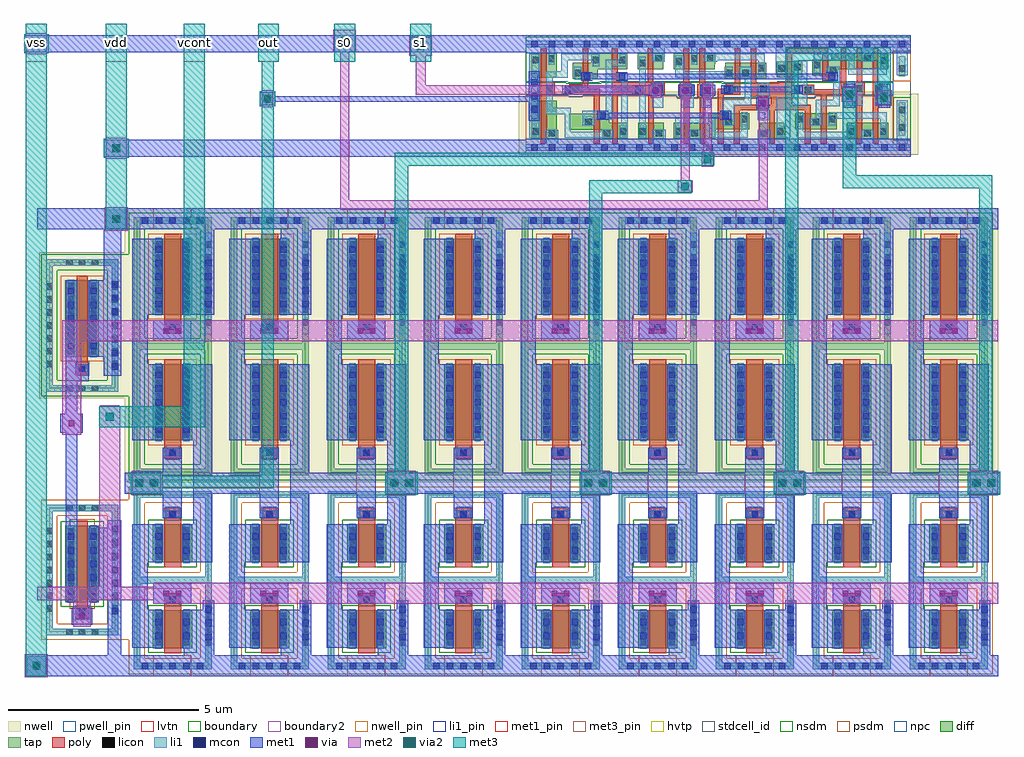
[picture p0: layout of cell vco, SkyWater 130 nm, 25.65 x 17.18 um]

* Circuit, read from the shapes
.subckt vco out s0 s1 vcont vdd vss
XM1 vss vcont delay_stage_10/vcont_p vss sky130_fd_pr__nfet_01v8_lvt w=2 l=0.3
XM2 vss vcont n1 vss sky130_fd_pr__nfet_01v8 w=1 l=0.45
XM3 delay_stage_2/in out n1 vss sky130_fd_pr__nfet_01v8 w=1 l=0.45
XM4 vss vcont n2 vss sky130_fd_pr__nfet_01v8 w=1 l=0.45
XM5 delay_stage_12/in delay_stage_2/in n2 vss sky130_fd_pr__nfet_01v8 w=1 l=0.45
XM6 vss vcont n3 vss sky130_fd_pr__nfet_01v8 w=1 l=0.45
XM7 sky130_fd_sc_hd__mux4_1_5/A3 delay_stage_12/in n3 vss sky130_fd_pr__nfet_01v8 w=1 l=0.45
XM8 vss vcont n4 vss sky130_fd_pr__nfet_01v8 w=1 l=0.45
XM9 delay_stage_8/in sky130_fd_sc_hd__mux4_1_5/A3 n4 vss sky130_fd_pr__nfet_01v8 w=1 l=0.45
XM10 vss n5 out vss sky130_fd_pr__nfet_01v8 w=0.65 l=0.15
XM11 vss vcont n6 vss sky130_fd_pr__nfet_01v8 w=1 l=0.45
XM12 sky130_fd_sc_hd__mux4_1_5/A2 delay_stage_8/in n6 vss sky130_fd_pr__nfet_01v8 w=1 l=0.45
XM13 n5 n7 n8 vss sky130_fd_pr__nfet_01v8 w=0.42 l=0.15
XM14 n9 s1 n5 vss sky130_fd_pr__nfet_01v8 w=0.42 l=0.15
XM15 vss s1 n7 vss sky130_fd_pr__nfet_01v8 w=0.42 l=0.15
XM16 vss vcont n10 vss sky130_fd_pr__nfet_01v8 w=1 l=0.45
XM17 delay_stage_6/in sky130_fd_sc_hd__mux4_1_5/A2 n10 vss sky130_fd_pr__nfet_01v8 w=1 l=0.45
XM18 vss sky130_fd_sc_hd__mux4_1_5/A2 n11 vss sky130_fd_pr__nfet_01v8 w=0.42 l=0.15
XM19 n12 sky130_fd_sc_hd__mux4_1_5/A3 vss vss sky130_fd_pr__nfet_01v8 w=0.42 l=0.15
XM20 n9 n13 n11 vss sky130_fd_pr__nfet_01v8 w=0.42 l=0.15
XM21 vss vcont n14 vss sky130_fd_pr__nfet_01v8 w=1 l=0.45
XM22 sky130_fd_sc_hd__mux4_1_5/A1 delay_stage_6/in n14 vss sky130_fd_pr__nfet_01v8 w=1 l=0.45
XM23 n12 s0 n9 vss sky130_fd_pr__nfet_01v8 w=0.42 l=0.15
XM24 n13 s0 vss vss sky130_fd_pr__nfet_01v8 w=0.42 l=0.15
XM25 n8 s0 n15 vss sky130_fd_pr__nfet_01v8 w=0.42 l=0.15
XM26 n16 n13 n8 vss sky130_fd_pr__nfet_01v8 w=0.42 l=0.15
XM27 vss vcont n17 vss sky130_fd_pr__nfet_01v8 w=1 l=0.45
XM28 delay_stage_11/in sky130_fd_sc_hd__mux4_1_5/A1 n17 vss sky130_fd_pr__nfet_01v8 w=1 l=0.45
XM29 vss sky130_fd_sc_hd__mux4_1_5/A0 n16 vss sky130_fd_pr__nfet_01v8 w=0.42 l=0.15
XM30 n15 sky130_fd_sc_hd__mux4_1_5/A1 vss vss sky130_fd_pr__nfet_01v8 w=0.42 l=0.15
XM31 vss vcont n18 vss sky130_fd_pr__nfet_01v8 w=1 l=0.45
XM32 sky130_fd_sc_hd__mux4_1_5/A0 delay_stage_11/in n18 vss sky130_fd_pr__nfet_01v8 w=1 l=0.45
XM33 vdd delay_stage_10/vcont_p delay_stage_10/vcont_p vdd sky130_fd_pr__pfet_01v8 w=2 l=0.3
XM34 delay_stage_2/in out n19 vdd sky130_fd_pr__pfet_01v8 w=2 l=0.45
XM35 vdd delay_stage_10/vcont_p n19 vdd sky130_fd_pr__pfet_01v8 w=2 l=0.45
XM36 delay_stage_12/in delay_stage_2/in n20 vdd sky130_fd_pr__pfet_01v8 w=2 l=0.45
XM37 vdd delay_stage_10/vcont_p n20 vdd sky130_fd_pr__pfet_01v8 w=2 l=0.45
XM38 sky130_fd_sc_hd__mux4_1_5/A3 delay_stage_12/in n21 vdd sky130_fd_pr__pfet_01v8 w=2 l=0.45
XM39 vdd delay_stage_10/vcont_p n21 vdd sky130_fd_pr__pfet_01v8 w=2 l=0.45
XM40 delay_stage_8/in sky130_fd_sc_hd__mux4_1_5/A3 n22 vdd sky130_fd_pr__pfet_01v8 w=2 l=0.45
XM41 vdd delay_stage_10/vcont_p n22 vdd sky130_fd_pr__pfet_01v8 w=2 l=0.45
XM42 vdd n5 out vdd sky130_fd_pr__pfet_01v8_hvt w=1 l=0.15
XM43 sky130_fd_sc_hd__mux4_1_5/A2 delay_stage_8/in n23 vdd sky130_fd_pr__pfet_01v8 w=2 l=0.45
XM44 vdd delay_stage_10/vcont_p n23 vdd sky130_fd_pr__pfet_01v8 w=2 l=0.45
XM45 n5 n7 n9 vdd sky130_fd_pr__pfet_01v8_hvt w=0.42 l=0.15
XM46 n8 s1 n5 vdd sky130_fd_pr__pfet_01v8_hvt w=0.42 l=0.15
XM47 vdd s1 n7 vdd sky130_fd_pr__pfet_01v8_hvt w=0.42 l=0.15
XM48 delay_stage_6/in sky130_fd_sc_hd__mux4_1_5/A2 n24 vdd sky130_fd_pr__pfet_01v8 w=2 l=0.45
XM49 vdd delay_stage_10/vcont_p n24 vdd sky130_fd_pr__pfet_01v8 w=2 l=0.45
XM50 vdd sky130_fd_sc_hd__mux4_1_5/A2 n25 vdd sky130_fd_pr__pfet_01v8_hvt w=0.42 l=0.15
XM51 n26 sky130_fd_sc_hd__mux4_1_5/A3 vdd vdd sky130_fd_pr__pfet_01v8_hvt w=0.42 l=0.15
XM52 n9 n13 n26 vdd sky130_fd_pr__pfet_01v8_hvt w=0.42 l=0.15
XM53 n25 s0 n9 vdd sky130_fd_pr__pfet_01v8_hvt w=0.42 l=0.15
XM54 sky130_fd_sc_hd__mux4_1_5/A1 delay_stage_6/in n27 vdd sky130_fd_pr__pfet_01v8 w=2 l=0.45
XM55 vdd delay_stage_10/vcont_p n27 vdd sky130_fd_pr__pfet_01v8 w=2 l=0.45
XM56 n13 s0 vdd vdd sky130_fd_pr__pfet_01v8_hvt w=0.42 l=0.15
XM57 n8 s0 n28 vdd sky130_fd_pr__pfet_01v8_hvt w=0.42 l=0.15
XM58 n29 n13 n8 vdd sky130_fd_pr__pfet_01v8_hvt w=0.42 l=0.15
XM59 delay_stage_11/in sky130_fd_sc_hd__mux4_1_5/A1 n30 vdd sky130_fd_pr__pfet_01v8 w=2 l=0.45
XM60 vdd delay_stage_10/vcont_p n30 vdd sky130_fd_pr__pfet_01v8 w=2 l=0.45
XM61 vdd sky130_fd_sc_hd__mux4_1_5/A0 n28 vdd sky130_fd_pr__pfet_01v8_hvt w=0.42 l=0.15
XM62 n29 sky130_fd_sc_hd__mux4_1_5/A1 vdd vdd sky130_fd_pr__pfet_01v8_hvt w=0.42 l=0.15
XM63 sky130_fd_sc_hd__mux4_1_5/A0 delay_stage_11/in n31 vdd sky130_fd_pr__pfet_01v8 w=2 l=0.45
XM64 vdd delay_stage_10/vcont_p n31 vdd sky130_fd_pr__pfet_01v8 w=2 l=0.45
.ends

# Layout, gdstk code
from math import pi, radians
import gdstk
lib = gdstk.Library(unit=1e-6, precision=1e-09)
def R(c, l, rs):  # rectangles x0, y0, x1, y1
    for r in rs: c.add(gdstk.rectangle(r[:2], r[2:], *l))
def A(c, l, x, y, w, h, nx, ny, dx, dy):  # array of equal rectangles
    R(c, l, [(x+i*dx, y+j*dy, x+i*dx+w, y+j*dy+h) for i in range(nx) for j in range(ny)])
def P(c, l, *ps):  # polygons
    for p in ps: c.add(gdstk.Polygon(p, *l))
nwell_pin = (64, 16)
nwell = (64, 20)
diff = (65, 20)
tap = (65, 44)
poly = (66, 20)
licon = (66, 44)
li1_pin = (67, 16)
li1 = (67, 20)
mcon = (67, 44)
met1_pin = (68, 16)
met1 = (68, 20)
via = (68, 44)
met2 = (69, 20)
via2 = (69, 44)
met3_pin = (70, 16)
met3 = (70, 20)
hvtp = (78, 44)
stdcell_id = (81, 4)
nsdm = (93, 44)
psdm = (94, 20)
npc = (95, 20)
pwell_pin = (122, 16)
lvtn = (125, 44)
boundary = (235, 4)
boundary2 = (236, 0)

sky130_fd_pr__nfet_01v8_ = lib.new_cell('sky130_fd_pr__nfet_01v8_lvt_TKZJHP')
R(sky130_fd_pr__nfet_01v8_, diff, [(-0.44,-0.845,0.44,1.155)])
R(sky130_fd_pr__nfet_01v8_, tap, [(-0.95,-1.715,0.95,-1.545), (-0.95,-1.545,-0.78,1.545), (0.78,-1.545,0.95,1.545), (-0.95,1.545,0.95,1.715)])
R(sky130_fd_pr__nfet_01v8_, poly, [(-0.165,-1.285,0.165,-0.955), (-0.15,-0.955,0.15,1.285)])
A(sky130_fd_pr__nfet_01v8_, licon, -0.425, -1.715, 0.17, 0.17, 3, 2, 0.34, 3.26)
A(sky130_fd_pr__nfet_01v8_, licon, -0.95, -1.105, 0.17, 0.17, 1, 7, 0, 0.34)
A(sky130_fd_pr__nfet_01v8_, licon, 0.78, -1.105, 0.17, 0.17, 1, 7, 0, 0.34)
A(sky130_fd_pr__nfet_01v8_, licon, -0.38, -0.78, 0.17, 0.17, 1, 6, 0, 0.34)
A(sky130_fd_pr__nfet_01v8_, licon, 0.21, -0.78, 0.17, 0.17, 1, 6, 0, 0.34)
R(sky130_fd_pr__nfet_01v8_, licon, [(-0.085,-1.205,0.085,-1.035)])
R(sky130_fd_pr__nfet_01v8_, li1, [(-0.95,-1.715,0.95,-1.545), (-0.95,-1.545,-0.78,1.545), (0.78,-1.545,0.95,1.545), (-0.165,-1.205,0.165,-1.035), (-0.38,-0.865,-0.21,1.175), (0.21,-0.865,0.38,1.175), (-0.95,1.545,0.95,1.715)])
A(sky130_fd_pr__nfet_01v8_, mcon, -0.38, -0.65, 0.17, 0.17, 1, 5, 0, 0.36)
A(sky130_fd_pr__nfet_01v8_, mcon, 0.21, -0.65, 0.17, 0.17, 1, 5, 0, 0.36)
R(sky130_fd_pr__nfet_01v8_, mcon, [(-0.085,-1.205,0.085,-1.035)])
R(sky130_fd_pr__nfet_01v8_, met1, [(-0.145,-1.235,0.145,-1.005), (-0.41,-0.845,-0.18,1.155), (0.18,-0.845,0.41,1.155)])
R(sky130_fd_pr__nfet_01v8_, nsdm, [(-0.565,-0.97,0.565,1.28)])
R(sky130_fd_pr__nfet_01v8_, psdm, [(-1.075,-1.84,1.075,-1.42), (-1.075,-1.42,-0.655,1.42), (0.655,-1.42,1.075,1.42), (-1.075,1.42,1.075,1.84)])
R(sky130_fd_pr__nfet_01v8_, npc, [(-0.185,-1.305,0.185,-0.935)])
R(sky130_fd_pr__nfet_01v8_, lvtn, [(-0.33,-1.025,0.33,1.335)])
R(sky130_fd_pr__nfet_01v8_, boundary, [(-0.865,-1.63,0.865,1.63)])

sky130_fd_pr__pfet_01v8_ = lib.new_cell('sky130_fd_pr__pfet_01v8_PLD8WZ')
R(sky130_fd_pr__pfet_01v8_, nwell, [(-1.13,-1.92,1.13,1.92)])
R(sky130_fd_pr__pfet_01v8_, diff, [(-0.44,-0.82,0.44,1.18)])
R(sky130_fd_pr__pfet_01v8_, tap, [(-0.95,-1.74,0.95,-1.57), (-0.95,-1.57,-0.78,1.57), (0.78,-1.57,0.95,1.57), (-0.95,1.57,0.95,1.74)])
R(sky130_fd_pr__pfet_01v8_, poly, [(-0.165,-1.305,0.165,-0.975), (-0.15,-0.975,0.15,1.31)])
A(sky130_fd_pr__pfet_01v8_, licon, -0.425, -1.74, 0.17, 0.17, 3, 2, 0.34, 3.31)
A(sky130_fd_pr__pfet_01v8_, licon, -0.95, -1.105, 0.17, 0.17, 1, 7, 0, 0.34)
A(sky130_fd_pr__pfet_01v8_, licon, 0.78, -1.105, 0.17, 0.17, 1, 7, 0, 0.34)
A(sky130_fd_pr__pfet_01v8_, licon, -0.38, -0.755, 0.17, 0.17, 1, 6, 0, 0.34)
A(sky130_fd_pr__pfet_01v8_, licon, 0.21, -0.755, 0.17, 0.17, 1, 6, 0, 0.34)
R(sky130_fd_pr__pfet_01v8_, licon, [(-0.085,-1.225,0.085,-1.055)])
R(sky130_fd_pr__pfet_01v8_, li1, [(-0.95,-1.74,0.95,-1.57), (-0.95,-1.57,-0.78,1.57), (0.78,-1.57,0.95,1.57), (-0.165,-1.225,0.165,-1.055), (-0.38,-0.84,-0.21,1.2), (0.21,-0.84,0.38,1.2), (-0.95,1.57,0.95,1.74)])
A(sky130_fd_pr__pfet_01v8_, mcon, -0.38, -0.625, 0.17, 0.17, 1, 5, 0, 0.36)
A(sky130_fd_pr__pfet_01v8_, mcon, 0.21, -0.625, 0.17, 0.17, 1, 5, 0, 0.36)
R(sky130_fd_pr__pfet_01v8_, mcon, [(-0.085,-1.225,0.085,-1.055)])
R(sky130_fd_pr__pfet_01v8_, met1, [(-0.145,-1.255,0.145,-1.025), (-0.41,-0.82,-0.18,1.18), (0.18,-0.82,0.41,1.18)])
R(sky130_fd_pr__pfet_01v8_, nsdm, [(-1.075,-1.865,1.075,-1.445), (-1.075,-1.445,-0.655,1.445), (0.655,-1.445,1.075,1.445), (-1.075,1.445,1.075,1.865)])
R(sky130_fd_pr__pfet_01v8_, psdm, [(-0.565,-0.945,0.565,1.305)])
R(sky130_fd_pr__pfet_01v8_, npc, [(-0.185,-1.325,0.185,-0.955)])
R(sky130_fd_pr__pfet_01v8_, boundary, [(-0.865,-1.655,0.865,1.655)])

c_sky130_fd_pr__pfet_01v8_ = lib.new_cell('sky130_fd_pr__pfet_01v8_38U2ME')
R(c_sky130_fd_pr__pfet_01v8_, nwell, [(-1.205,-1.92,1.205,1.92)])
R(c_sky130_fd_pr__pfet_01v8_, diff, [(-0.515,-0.82,0.515,1.18)])
R(c_sky130_fd_pr__pfet_01v8_, tap, [(-1.025,-1.74,1.025,-1.57), (-1.025,-1.57,-0.855,1.57), (0.855,-1.57,1.025,1.57), (-1.025,1.57,1.025,1.74)])
R(c_sky130_fd_pr__pfet_01v8_, poly, [(-0.225,-1.305,0.225,1.31)])
A(c_sky130_fd_pr__pfet_01v8_, licon, 0.855, -1.105, 0.17, 0.17, 1, 7, 0, 0.34)
A(c_sky130_fd_pr__pfet_01v8_, licon, -0.455, -0.755, 0.17, 0.17, 1, 6, 0, 0.34)
A(c_sky130_fd_pr__pfet_01v8_, licon, 0.285, -0.755, 0.17, 0.17, 1, 6, 0, 0.34)
R(c_sky130_fd_pr__pfet_01v8_, licon, [(-0.085,-1.225,0.085,-1.055)])
R(c_sky130_fd_pr__pfet_01v8_, li1, [(0.855,-1.335,1.025,1.335), (-0.225,-1.225,0.225,-1.055), (-0.455,-0.84,-0.285,1.2), (0.285,-0.84,0.455,1.2), (-0.855,1.57,0.855,1.74)])
A(c_sky130_fd_pr__pfet_01v8_, mcon, -0.455, -0.625, 0.17, 0.17, 1, 5, 0, 0.36)
A(c_sky130_fd_pr__pfet_01v8_, mcon, 0.285, -0.625, 0.17, 0.17, 1, 5, 0, 0.36)
A(c_sky130_fd_pr__pfet_01v8_, mcon, 0.855, -0.625, 0.17, 0.17, 1, 4, 0, 0.36)
A(c_sky130_fd_pr__pfet_01v8_, mcon, -0.805, 1.57, 0.17, 0.17, 5, 1, 0.36, 0)
R(c_sky130_fd_pr__pfet_01v8_, mcon, [(-0.085,-1.225,0.085,-1.055)])
R(c_sky130_fd_pr__pfet_01v8_, met1, [(-0.205,-1.255,0.205,-1.025), (-0.485,-0.82,-0.255,1.18), (0.255,-0.82,0.485,1.18), (0.825,-0.685,1.055,0.685), (-0.915,1.54,0.915,1.77)])
R(c_sky130_fd_pr__pfet_01v8_, nsdm, [(-1.15,-1.865,1.15,-1.445), (-1.15,-1.445,-0.73,1.445), (0.73,-1.445,1.15,1.445), (-1.15,1.445,1.15,1.865)])
R(c_sky130_fd_pr__pfet_01v8_, psdm, [(-0.64,-0.945,0.64,1.305)])
R(c_sky130_fd_pr__pfet_01v8_, npc, [(-0.185,-1.325,0.185,-0.955)])
R(c_sky130_fd_pr__pfet_01v8_, boundary, [(-0.94,-1.655,0.94,1.655)])

c_sky130_fd_pr__pfet_01v8__ = lib.new_cell('sky130_fd_pr__pfet_01v8_5YCKZA')
R(c_sky130_fd_pr__pfet_01v8__, nwell, [(-1.205,-1.92,1.205,1.92)])
R(c_sky130_fd_pr__pfet_01v8__, diff, [(-0.515,-0.82,0.515,1.18)])
R(c_sky130_fd_pr__pfet_01v8__, tap, [(-1.025,-1.74,1.025,-1.57), (-1.025,-1.57,-0.855,1.57), (0.855,-1.57,1.025,1.57), (-1.025,1.57,1.025,1.74)])
R(c_sky130_fd_pr__pfet_01v8__, poly, [(-0.225,-1.305,0.225,1.31)])
A(c_sky130_fd_pr__pfet_01v8__, licon, -0.455, -0.755, 0.17, 0.17, 1, 6, 0, 0.34)
A(c_sky130_fd_pr__pfet_01v8__, licon, 0.285, -0.755, 0.17, 0.17, 1, 6, 0, 0.34)
R(c_sky130_fd_pr__pfet_01v8__, licon, [(-0.085,-1.225,0.085,-1.055)])
R(c_sky130_fd_pr__pfet_01v8__, li1, [(-0.225,-1.225,0.225,-1.055), (-0.455,-0.84,-0.285,1.2), (0.285,-0.84,0.455,1.2)])
A(c_sky130_fd_pr__pfet_01v8__, mcon, -0.455, -0.625, 0.17, 0.17, 1, 5, 0, 0.36)
A(c_sky130_fd_pr__pfet_01v8__, mcon, 0.285, -0.625, 0.17, 0.17, 1, 5, 0, 0.36)
R(c_sky130_fd_pr__pfet_01v8__, mcon, [(-0.085,-1.225,0.085,-1.055)])
R(c_sky130_fd_pr__pfet_01v8__, met1, [(-0.205,-1.255,0.205,-1.025), (-0.485,-0.82,-0.255,1.18), (0.255,-0.82,0.485,1.18)])
R(c_sky130_fd_pr__pfet_01v8__, nsdm, [(-1.15,-1.865,1.15,-1.445), (-1.15,-1.445,-0.73,1.445), (0.73,-1.445,1.15,1.445), (-1.15,1.445,1.15,1.865)])
R(c_sky130_fd_pr__pfet_01v8__, psdm, [(-0.64,-0.945,0.64,1.305)])
R(c_sky130_fd_pr__pfet_01v8__, npc, [(-0.185,-1.325,0.185,-0.955)])
R(c_sky130_fd_pr__pfet_01v8__, boundary, [(-0.94,-1.655,0.94,1.655)])

c_sky130_fd_pr__nfet_01v8_ = lib.new_cell('sky130_fd_pr__nfet_01v8_TTGNW2')
R(c_sky130_fd_pr__nfet_01v8_, diff, [(-0.515,-0.655,0.515,0.345)])
R(c_sky130_fd_pr__nfet_01v8_, tap, [(-1.025,-1.215,1.025,-1.045), (-1.025,-1.045,-0.855,1.045), (0.855,-1.045,1.025,1.045), (-1.025,1.045,1.025,1.215)])
R(c_sky130_fd_pr__nfet_01v8_, poly, [(-0.225,-0.785,0.225,0.785)])
A(c_sky130_fd_pr__nfet_01v8_, licon, 0.855, -0.595, 0.17, 0.17, 1, 4, 0, 0.34)
A(c_sky130_fd_pr__nfet_01v8_, licon, -0.455, -0.58, 0.17, 0.17, 1, 3, 0, 0.34)
A(c_sky130_fd_pr__nfet_01v8_, licon, 0.285, -0.58, 0.17, 0.17, 1, 3, 0, 0.34)
R(c_sky130_fd_pr__nfet_01v8_, licon, [(-0.085,0.535,0.085,0.705)])
R(c_sky130_fd_pr__nfet_01v8_, li1, [(-1.025,-1.215,1.025,-1.045), (-1.025,-1.045,-0.855,1.045), (0.855,-1.045,1.025,1.045), (-0.455,-0.675,-0.285,0.365), (0.285,-0.675,0.455,0.365), (-0.225,0.535,0.225,0.705), (-1.025,1.045,1.025,1.215)])
A(c_sky130_fd_pr__nfet_01v8_, mcon, -0.805, -1.215, 0.17, 0.17, 5, 1, 0.36, 0)
A(c_sky130_fd_pr__nfet_01v8_, mcon, 0.855, -0.445, 0.17, 0.17, 1, 3, 0, 0.36)
R(c_sky130_fd_pr__nfet_01v8_, mcon, [(-0.455,-0.42,-0.285,-0.25), (0.285,-0.42,0.455,-0.25), (-0.455,-0.06,-0.285,0.11), (0.285,-0.06,0.455,0.11), (-0.085,0.535,0.085,0.705)])
R(c_sky130_fd_pr__nfet_01v8_, met1, [(-0.915,-1.245,0.915,-1.015), (-0.485,-0.655,-0.255,0.345), (0.255,-0.655,0.485,0.345), (0.825,-0.585,1.055,0.585), (-0.205,0.505,0.205,0.735)])
R(c_sky130_fd_pr__nfet_01v8_, nsdm, [(-0.64,-0.78,0.64,0.47)])
R(c_sky130_fd_pr__nfet_01v8_, psdm, [(-1.15,-1.34,1.15,-0.92), (-1.15,-0.92,-0.73,0.92), (0.73,-0.92,1.15,0.92), (-1.15,0.92,1.15,1.34)])
R(c_sky130_fd_pr__nfet_01v8_, npc, [(-0.185,0.435,0.185,0.805)])
R(c_sky130_fd_pr__nfet_01v8_, boundary, [(-0.94,-1.13,0.94,1.13)])

c_sky130_fd_pr__nfet_01v8__ = lib.new_cell('sky130_fd_pr__nfet_01v8_46DABQ')
R(c_sky130_fd_pr__nfet_01v8__, diff, [(-0.515,-0.655,0.515,0.345)])
R(c_sky130_fd_pr__nfet_01v8__, tap, [(-1.025,-1.215,1.025,-1.045), (-1.025,-1.045,-0.855,1.045), (0.855,-1.045,1.025,1.045), (-1.025,1.045,1.025,1.215)])
R(c_sky130_fd_pr__nfet_01v8__, poly, [(-0.225,-0.785,0.225,0.785)])
A(c_sky130_fd_pr__nfet_01v8__, licon, -0.455, -0.58, 0.17, 0.17, 1, 3, 0, 0.34)
A(c_sky130_fd_pr__nfet_01v8__, licon, 0.285, -0.58, 0.17, 0.17, 1, 3, 0, 0.34)
R(c_sky130_fd_pr__nfet_01v8__, licon, [(-0.085,0.535,0.085,0.705)])
R(c_sky130_fd_pr__nfet_01v8__, li1, [(-1.025,-1.215,1.025,-1.045), (-1.025,-1.045,-0.855,1.045), (0.855,-1.045,1.025,1.045), (-0.455,-0.675,-0.285,0.365), (0.285,-0.675,0.455,0.365), (-0.225,0.535,0.225,0.705), (-1.025,1.045,1.025,1.215)])
R(c_sky130_fd_pr__nfet_01v8__, mcon, [(-0.455,-0.42,-0.285,-0.25), (0.285,-0.42,0.455,-0.25), (-0.455,-0.06,-0.285,0.11), (0.285,-0.06,0.455,0.11), (-0.085,0.535,0.085,0.705)])
R(c_sky130_fd_pr__nfet_01v8__, met1, [(-0.485,-0.655,-0.255,0.345), (0.255,-0.655,0.485,0.345), (-0.205,0.505,0.205,0.735)])
R(c_sky130_fd_pr__nfet_01v8__, nsdm, [(-0.64,-0.78,0.64,0.47)])
R(c_sky130_fd_pr__nfet_01v8__, psdm, [(-1.15,-1.34,1.15,-0.92), (-1.15,-0.92,-0.73,0.92), (0.73,-0.92,1.15,0.92), (-1.15,0.92,1.15,1.34)])
R(c_sky130_fd_pr__nfet_01v8__, npc, [(-0.185,0.435,0.185,0.805)])
R(c_sky130_fd_pr__nfet_01v8__, boundary, [(-0.94,-1.13,0.94,1.13)])

delay_stage = lib.new_cell('delay_stage')
R(delay_stage, nwell, [(5.55,-8.25,8.1,-1.05)])
R(delay_stage, met1_pin, [(6.3,-13.35,7.3,-12.8), (6.3,-11.45,7.3,-10.9), (5.55,-8.55,6.55,-8), (7.35,-8.55,8.1,-8), (6.3,-4.55,7.3,-4), (6.3,-1.6,7.3,-1.05)])
R(delay_stage, met1, [(5.55,-13.35,8.1,-12.8), (7.1,-12.8,7.9,-11.6), (5.75,-12.6,6.5,-11.6), (5.75,-11.6,6.15,-10.35), (7.6,-11.6,7.9,-11.35), (6.3,-11.45,7.3,-10.9), (5.75,-10.35,6.5,-9.35), (7.1,-10.35,7.85,-9.35), (7.35,-9.35,7.85,-8.55), (6.55,-9.2,7.05,-8.55), (5.55,-8.55,7.05,-8), (7.35,-8.55,8.1,-8), (6.55,-8,7.05,-7.35), (7.35,-8,7.85,-7.15), (5.75,-7.15,6.5,-5.15), (7.1,-7.15,7.85,-5.15), (5.75,-5.15,6.15,-3.85), (6.3,-4.55,7.3,-4), (5.75,-3.85,6.5,-1.85), (7.1,-3.85,7.9,-1.6), (5.55,-1.6,8.1,-1.05)])
delay_stage.add(gdstk.Reference(c_sky130_fd_pr__pfet_01v8_, (6.805,-3.03)))
delay_stage.add(gdstk.Reference(c_sky130_fd_pr__pfet_01v8__, (6.805,-6.33)))
delay_stage.add(gdstk.Reference(c_sky130_fd_pr__nfet_01v8_, (6.805,-11.955)))
delay_stage.add(gdstk.Reference(c_sky130_fd_pr__nfet_01v8__, (6.805,-9.705)))
delay_stage.add(gdstk.Label('vdd', (6.8,-1.325), layer=68, texttype=5))
delay_stage.add(gdstk.Label('vcont_p', (6.8,-4.275), layer=68, texttype=5))
delay_stage.add(gdstk.Label('out', (7.725,-8.275), layer=68, texttype=5))
delay_stage.add(gdstk.Label('in', (6.05,-8.275), layer=68, texttype=5))
delay_stage.add(gdstk.Label('vcont_n', (6.8,-11.175), layer=68, texttype=5))
delay_stage.add(gdstk.Label('vss', (6.8,-13.075), layer=68, texttype=5))

sky130_fd_sc_hd__tapvpwr = lib.new_cell('sky130_fd_sc_hd__tapvpwrvgnd_1')
R(sky130_fd_sc_hd__tapvpwr, nwell, [(-0.19,1.305,0.65,2.91)])
R(sky130_fd_sc_hd__tapvpwr, tap, [(0.145,0.32,0.315,0.845), (0.145,1.525,0.315,2.4)])
R(sky130_fd_sc_hd__tapvpwr, licon, [(0.145,0.555,0.315,0.725), (0.145,1.645,0.315,1.815), (0.145,2.11,0.315,2.28)])
R(sky130_fd_sc_hd__tapvpwr, li1, [(0,-0.085,0.46,0.085), (0.085,0,0.375,0.81), (0.085,1.47,0.375,2.72), (0,2.635,0.46,2.805)])
R(sky130_fd_sc_hd__tapvpwr, mcon, [(0.145,-0.085,0.315,0.085), (0.145,2.635,0.315,2.805)])
R(sky130_fd_sc_hd__tapvpwr, met1_pin, [(0.105,-0.09,0.36,0.1), (0.11,2.62,0.375,2.765)])
R(sky130_fd_sc_hd__tapvpwr, met1, [(0,-0.24,0.46,0.24), (0,2.48,0.46,2.96)])
R(sky130_fd_sc_hd__tapvpwr, hvtp, [(0,1.25,0.46,2.72)])
R(sky130_fd_sc_hd__tapvpwr, stdcell_id, [(0,0,0.46,2.72)])
R(sky130_fd_sc_hd__tapvpwr, nsdm, [(0,-0.19,0.46,0.19), (0,1.395,0.46,2.53)])
R(sky130_fd_sc_hd__tapvpwr, psdm, [(0,0.19,0.46,0.975), (0,2.53,0.46,2.91)])
sky130_fd_sc_hd__tapvpwr.add(gdstk.Label('VPWR', (0.23,2.72), layer=68, texttype=5))
sky130_fd_sc_hd__tapvpwr.add(gdstk.Label('VGND', (0.23,0), layer=68, texttype=5))
sky130_fd_sc_hd__tapvpwr.add(gdstk.Label('tapvpwrvgnd_1', (0,0), layer=83, texttype=44))

sky130_fd_sc_hd__mux4_1 = lib.new_cell('sky130_fd_sc_hd__mux4_1')
R(sky130_fd_sc_hd__mux4_1, nwell_pin, [(0.145,2.635,0.315,2.805)])
R(sky130_fd_sc_hd__mux4_1, nwell, [(-0.19,1.305,9.85,2.91)])
R(sky130_fd_sc_hd__mux4_1, diff, [(6.05,0.235,6.72,0.655), (8.855,0.235,9.525,0.885), (2.4,0.45,3.07,0.87), (8.855,1.485,9.525,2.485), (0.135,2.065,1.225,2.485), (6.04,2.065,6.71,2.485)])
P(sky130_fd_sc_hd__mux4_1, diff, [(2.13,0.825),(1.46,0.825),(1.46,0.655),(0.135,0.655),(0.135,0.235),(1.635,0.235),(1.635,0.405),(2.13,0.405)],
  [(2.585,2.105),(2.575,2.105),(2.575,2.235),(1.495,2.235),(1.495,1.815),(2.585,1.815)],
  [(3.525,2.485),(2.855,2.485),(2.855,2.155),(2.865,2.155),(2.865,2.065),(3.515,2.065),(3.515,2.195),(3.525,2.195)],
  [(4.43,0.905),(3.34,0.905),(3.34,0.485),(4.42,0.485),(4.42,0.61),(4.43,0.61)],
  [(5.77,2.485),(4.69,2.485),(4.69,2.235),(3.795,2.235),(3.795,2.105),(3.785,2.105),(3.785,1.815),(4.865,1.815),(4.865,2.065),(5.77,2.065)],
  [(5.78,0.655),(4.7,0.655),(4.7,0.525),(4.69,0.525),(4.69,0.235),(5.78,0.235)],
  [(8.425,0.905),(7.765,0.905),(7.765,0.655),(6.99,0.655),(6.99,0.235),(7.94,0.235),(7.94,0.485),(8.425,0.485)],
  [(8.515,2.25),(7.65,2.25),(7.65,2.485),(6.98,2.485),(6.98,2.065),(7.465,2.065),(7.465,1.83),(8.515,1.83)])
R(sky130_fd_sc_hd__mux4_1, poly, [(4.95,0.105,5.1,1.055), (5.37,0.105,5.52,1.055), (2.66,0.255,2.81,0.995), (5.36,1.055,5.63,1.385), (6.3,1.325,6.45,2.615), (7.24,1.325,7.39,2.615), (1.755,1.335,1.905,2.615), (5.36,1.385,5.51,2.615), (3.115,1.74,3.265,2.615)])
P(sky130_fd_sc_hd__mux4_1, poly, [(0.545,2.615),(0.395,2.615),(0.395,1.325),(0.275,1.325),(0.275,0.995),(0.395,0.995),(0.395,0.105),(0.545,0.105)],
  [(1.025,1.325),(0.965,1.325),(0.965,2.615),(0.815,2.615),(0.815,1.325),(0.755,1.325),(0.755,0.995),(0.815,0.995),(0.815,0.105),(0.965,0.105),(0.965,0.995),(1.025,0.995)],
  [(2.41,1.335),(1.235,1.335),(1.235,0.105),(1.385,0.105),(1.385,1.185),(2.08,1.185),(2.08,1.065),(2.41,1.065)],
  [(4.195,2.615),(4.045,2.615),(4.045,1.74),(2.325,1.74),(2.325,2.615),(2.175,2.615),(2.175,1.59),(2.66,1.59),(2.66,0.995),(3.6,0.995),(3.6,0.105),(3.75,0.105),(3.75,1.365),(3.225,1.365),(3.225,1.59),(4.195,1.59)],
  [(4.615,2.61),(4.465,2.61),(4.465,1.325),(4.02,1.325),(4.02,0.105),(4.17,0.105),(4.17,1.045),(4.405,1.045),(4.405,1.175),(4.615,1.175)],
  [(9.265,2.615),(9.115,2.615),(9.115,1.325),(8.895,1.325),(8.895,0.995),(9.115,0.995),(9.115,0.105),(9.265,0.105)],
  [(7.4,1.325),(6.005,1.325),(6.005,0.995),(6.31,0.995),(6.31,0.105),(6.46,0.105),(6.46,1),(7.25,1),(7.25,0.105),(7.4,0.105)],
  [(8.52,1.325),(7.875,1.325),(7.875,2.615),(7.725,2.615),(7.725,1.175),(8.015,1.175),(8.015,0.105),(8.165,0.105),(8.165,1.055),(8.52,1.055)],
  [(2.81,0.255),(1.87,0.255),(1.87,0.955),(1.72,0.955),(1.72,0.105),(2.81,0.105)],
  [(5.15,1.385),(5.09,1.385),(5.09,2.615),(4.94,2.615),(4.94,1.385),(4.825,1.385),(4.825,1.055),(5.15,1.055)])
R(sky130_fd_sc_hd__mux4_1, licon, [(0.595,0.295,0.765,0.465), (4.73,0.295,4.9,0.465), (5.15,0.295,5.32,0.465), (6.09,0.295,6.26,0.465), (8.895,0.295,9.065,0.465), (7.03,0.335,7.2,0.505), (7.73,0.335,7.9,0.505), (9.315,0.335,9.485,0.505), (0.175,0.34,0.345,0.51), (5.57,0.375,5.74,0.545), (6.51,0.405,6.68,0.575), (1.92,0.465,2.09,0.635), (2.44,0.51,2.61,0.68), (3.38,0.545,3.55,0.715), (2.86,0.555,3.03,0.725), (1.5,0.595,1.67,0.765), (3.8,0.675,3.97,0.845), (4.22,0.675,4.39,0.845), (8.215,0.675,8.385,0.845), (0.325,1.075,0.495,1.245), (0.805,1.075,0.975,1.245), (6.055,1.075,6.225,1.245), (8.955,1.075,9.125,1.245), (3.33,1.095,3.5,1.265), (4.155,1.095,4.325,1.265), (8.27,1.105,8.44,1.275), (2.16,1.115,2.33,1.285), (4.875,1.135,5.045,1.305), (5.41,1.135,5.58,1.305), (1.535,1.875,1.705,2.045), (2.375,1.875,2.545,2.045), (3.825,1.875,3.995,2.045), (1.955,1.955,2.125,2.125), (4.245,1.955,4.415,2.125), (7.925,1.955,8.095,2.125), (0.175,2.215,0.345,2.385), (1.015,2.215,1.185,2.385), (2.895,2.215,3.065,2.385), (5.56,2.215,5.73,2.385), (6.5,2.215,6.67,2.385), (7.02,2.215,7.19,2.385), (9.315,2.215,9.485,2.385), (0.595,2.255,0.765,2.425), (3.315,2.255,3.485,2.425), (5.14,2.255,5.31,2.425), (6.08,2.255,6.25,2.425), (7.44,2.255,7.61,2.425), (8.895,2.255,9.065,2.425)])
A(sky130_fd_sc_hd__mux4_1, li1_pin, 9.35, 0.765, 0.17, 0.17, 1, 4, 0, 0.34)
R(sky130_fd_sc_hd__mux4_1, li1_pin, [(0.15,1.105,0.32,1.275), (1.07,1.105,1.24,1.275), (4.8,1.105,4.97,1.275), (5.285,1.105,5.455,1.275), (6.175,1.105,6.345,1.275), (0.15,1.445,0.32,1.615), (1.07,1.445,1.24,1.615), (3.37,1.445,3.54,1.615), (4.8,1.445,4.97,1.615), (3.37,1.785,3.54,1.955)])
R(sky130_fd_sc_hd__mux4_1, li1, [(9.315,0.255,9.575,2.465), (0.15,0.995,0.495,1.615), (0.805,0.995,1.24,1.615), (3.265,0.995,3.565,1.995), (6.055,0.995,6.345,1.675), (4.8,1.055,5.045,1.675), (5.25,1.055,5.58,1.675), (8.19,1.105,8.645,1.275)])
P(sky130_fd_sc_hd__mux4_1, li1, [(6.805,1.275),(6.685,1.275),(6.685,2.465),(6.5,2.465),(6.5,2.135),(6.515,2.135),(6.515,0.655),(6.51,0.655),(6.51,0.325),(6.685,0.325),(6.685,1.105),(6.805,1.105)],
  [(7.22,0.935),(7.15,0.935),(7.15,2.135),(7.19,2.135),(7.19,2.465),(6.98,2.465),(6.98,0.765),(7.22,0.765)],
  [(8.175,2.125),(7.845,2.125),(7.845,1.985),(7.39,1.985),(7.39,0.585),(7.03,0.585),(7.03,0.255),(7.2,0.255),(7.2,0.415),(7.56,0.415),(7.56,1.755),(8.175,1.755)],
  [(2.545,2.465),(1.015,2.465),(1.015,2.135),(1.185,2.135),(1.185,2.295),(2.375,2.295),(2.375,1.795),(2.545,1.795)],
  [(8.385,0.925),(8.38,0.925),(8.38,0.935),(7.97,0.935),(7.97,0.765),(8.21,0.765),(8.21,0.595),(8.385,0.595)],
  [(9.125,1.835),(8.645,1.835),(8.645,2.465),(7.36,2.465),(7.36,2.255),(7.69,2.255),(7.69,2.295),(8.475,2.295),(8.475,1.665),(8.955,1.665),(8.955,0.885),(8.555,0.885),(8.555,0.425),(7.9,0.425),(7.9,0.585),(7.73,0.585),(7.73,0.255),(8.725,0.255),(8.725,0.715),(9.125,0.715)],
  [(1.705,2.125),(1.535,2.125),(1.535,1.965),(0.345,1.965),(0.345,2.465),(0.175,2.465),(0.175,1.795),(1.705,1.795)],
  [(9.66,2.805),(0,2.805),(0,2.635),(0.515,2.635),(0.515,2.255),(0.845,2.255),(0.845,2.635),(3.235,2.635),(3.235,2.255),(3.565,2.255),(3.565,2.635),(5.06,2.635),(5.06,2.255),(5.39,2.255),(5.39,2.635),(5.98,2.635),(5.98,2.255),(6.33,2.255),(6.33,2.635),(8.815,2.635),(8.815,2.255),(9.145,2.255),(9.145,2.635),(9.66,2.635)],
  [(5.74,0.885),(4.39,0.885),(4.39,0.925),(4.22,0.925),(4.22,0.595),(4.39,0.595),(4.39,0.715),(5.495,0.715),(5.495,0.295),(5.74,0.295)],
  [(5.73,2.465),(5.56,2.465),(5.56,2.085),(4.835,2.085),(4.835,2.465),(3.825,2.465),(3.825,1.785),(3.995,1.785),(3.995,2.295),(4.665,2.295),(4.665,1.915),(5.73,1.915)],
  [(4.495,2.125),(4.165,2.125),(4.165,1.615),(3.735,1.615),(3.735,0.845),(3.72,0.845),(3.72,0.595),(4.05,0.595),(4.05,0.92),(3.905,0.92),(3.905,1.445),(4.495,1.445)],
  [(4.46,1.275),(4.29,1.275),(4.29,1.265),(4.075,1.265),(4.075,1.095),(4.405,1.095),(4.405,1.105),(4.46,1.105)],
  [(4.98,0.465),(4.625,0.465),(4.625,0.425),(3.55,0.425),(3.55,0.795),(3.38,0.795),(3.38,0.255),(4.98,0.255)],
  [(2.09,0.76),(1.92,0.76),(1.92,0.425),(1.185,0.425),(1.185,0.805),(0.175,0.805),(0.175,0.26),(0.345,0.26),(0.345,0.635),(1.015,0.635),(1.015,0.255),(2.09,0.255)],
  [(2.205,2.125),(1.875,2.125),(1.875,1.625),(1.41,1.625),(1.41,0.595),(1.75,0.595),(1.75,0.765),(1.7,0.765),(1.7,0.935),(1.58,0.935),(1.58,1.455),(2.045,1.455),(2.045,1.955),(2.205,1.955)],
  [(3.065,2.465),(2.715,2.465),(2.715,1.625),(2.26,1.625),(2.26,1.285),(2.08,1.285),(2.08,1.105),(2.26,1.105),(2.26,0.43),(2.62,0.43),(2.62,1.395),(3.065,1.395)],
  [(9.66,0.085),(9.065,0.085),(9.065,0.545),(8.895,0.545),(8.895,0.085),(6.34,0.085),(6.34,0.465),(6.01,0.465),(6.01,0.085),(5.32,0.085),(5.32,0.545),(5.15,0.545),(5.15,0.085),(3.09,0.085),(3.09,0.805),(2.8,0.805),(2.8,0.085),(0.845,0.085),(0.845,0.465),(0.515,0.465),(0.515,0.085),(0,0.085),(0,-0.085),(9.66,-0.085)])
A(sky130_fd_sc_hd__mux4_1, mcon, 0.145, -0.085, 0.17, 0.17, 21, 2, 0.46, 2.72)
R(sky130_fd_sc_hd__mux4_1, mcon, [(1.53,0.765,1.7,0.935), (7.05,0.765,7.22,0.935), (7.97,0.765,8.14,0.935), (2.45,1.105,2.62,1.275), (4.29,1.105,4.46,1.275), (6.635,1.105,6.805,1.275), (8.475,1.105,8.645,1.275), (4.325,1.785,4.495,1.955), (7.555,1.785,7.725,1.955)])
R(sky130_fd_sc_hd__mux4_1, met1_pin, [(0.145,-0.085,0.315,0.085), (0.145,2.635,0.315,2.805)])
P(sky130_fd_sc_hd__mux4_1, met1, [(4.52,1.305),(4.23,1.305),(4.23,1.26),(2.68,1.26),(2.68,1.305),(2.39,1.305),(2.39,1.075),(2.68,1.075),(2.68,1.12),(4.23,1.12),(4.23,1.075),(4.52,1.075)],
  [(7.785,1.985),(7.495,1.985),(7.495,1.94),(4.555,1.94),(4.555,1.985),(4.265,1.985),(4.265,1.755),(4.555,1.755),(4.555,1.8),(7.495,1.8),(7.495,1.755),(7.785,1.755)],
  [(8.705,1.305),(8.415,1.305),(8.415,1.26),(6.865,1.26),(6.865,1.305),(6.575,1.305),(6.575,1.075),(6.865,1.075),(6.865,1.12),(8.415,1.12),(8.415,1.075),(8.705,1.075)],
  [(8.2,0.965),(7.91,0.965),(7.91,0.92),(7.28,0.92),(7.28,0.965),(6.99,0.965),(6.99,0.92),(1.76,0.92),(1.76,0.965),(1.47,0.965),(1.47,0.735),(1.76,0.735),(1.76,0.78),(6.99,0.78),(6.99,0.735),(7.28,0.735),(7.28,0.78),(7.91,0.78),(7.91,0.735),(8.2,0.735)])
R(sky130_fd_sc_hd__mux4_1, hvtp, [(0,1.25,9.66,2.72)])
R(sky130_fd_sc_hd__mux4_1, stdcell_id, [(0,0,9.66,2.72)])
P(sky130_fd_sc_hd__mux4_1, nsdm, [(9.66,1.015),(8.595,1.015),(8.595,1.035),(7.675,1.035),(7.675,1.015),(4.51,1.015),(4.51,1.035),(3.02,1.035),(3.02,1.015),(0,1.015),(0,-0.19),(9.66,-0.19)])
P(sky130_fd_sc_hd__mux4_1, psdm, [(9.66,2.91),(0,2.91),(0,1.355),(2.05,1.355),(2.05,1.415),(5.7,1.415),(5.7,1.355),(8.16,1.355),(8.16,1.385),(8.55,1.385),(8.55,1.355),(9.66,1.355)])
P(sky130_fd_sc_hd__mux4_1, npc, [(9.66,1.345),(8.54,1.345),(8.54,1.375),(8.17,1.375),(8.17,1.345),(5.69,1.345),(5.69,1.405),(2.06,1.405),(2.06,1.345),(0,1.345),(0,0.975),(3.06,0.975),(3.06,0.995),(4.47,0.995),(4.47,0.975),(7.715,0.975),(7.715,0.995),(8.555,0.995),(8.555,0.975),(9.66,0.975)])
R(sky130_fd_sc_hd__mux4_1, pwell_pin, [(0.145,-0.085,0.315,0.085)])
R(sky130_fd_sc_hd__mux4_1, boundary2, [(0,0,9.66,2.72)])
sky130_fd_sc_hd__mux4_1.add(gdstk.FlexPath([(0,2.72),(9.66,2.72)], 0.48, ends="flush", simple_path=True, layer=68, datatype=20))  # met1
sky130_fd_sc_hd__mux4_1.add(gdstk.FlexPath([(0,0),(9.66,0)], 0.48, ends="flush", simple_path=True, layer=68, datatype=20))  # met1
sky130_fd_sc_hd__mux4_1.add(gdstk.Label('S0', (3.455,1.53), layer=67, texttype=5))
sky130_fd_sc_hd__mux4_1.add(gdstk.Label('A1', (0.235,1.19), layer=67, texttype=5))
sky130_fd_sc_hd__mux4_1.add(gdstk.Label('X', (9.435,1.19), layer=67, texttype=5))
sky130_fd_sc_hd__mux4_1.add(gdstk.Label('X', (9.435,1.53), layer=67, texttype=5))
sky130_fd_sc_hd__mux4_1.add(gdstk.Label('X', (9.435,1.87), layer=67, texttype=5))
sky130_fd_sc_hd__mux4_1.add(gdstk.Label('S1', (6.26,1.19), layer=67, texttype=5))
sky130_fd_sc_hd__mux4_1.add(gdstk.Label('A2', (5.37,1.19), layer=67, texttype=5))
sky130_fd_sc_hd__mux4_1.add(gdstk.Label('A1', (0.235,1.53), layer=67, texttype=5))
sky130_fd_sc_hd__mux4_1.add(gdstk.Label('A0', (1.155,1.53), layer=67, texttype=5))
sky130_fd_sc_hd__mux4_1.add(gdstk.Label('A0', (1.155,1.19), layer=67, texttype=5))
sky130_fd_sc_hd__mux4_1.add(gdstk.Label('X', (9.435,0.85), layer=67, texttype=5))
sky130_fd_sc_hd__mux4_1.add(gdstk.Label('A3', (4.885,1.19), layer=67, texttype=5))
sky130_fd_sc_hd__mux4_1.add(gdstk.Label('VNB', (0.23,0), layer=64, texttype=59))
sky130_fd_sc_hd__mux4_1.add(gdstk.Label('VPB', (0.23,2.72), layer=64, texttype=5))
sky130_fd_sc_hd__mux4_1.add(gdstk.Label('VGND', (0.225,0), layer=68, texttype=5))
sky130_fd_sc_hd__mux4_1.add(gdstk.Label('VPWR', (0.23,2.72), layer=68, texttype=5))
sky130_fd_sc_hd__mux4_1.add(gdstk.Label('mux4_1', (0,0), layer=83, texttype=44))

vco = lib.new_cell('vco')
R(vco, li1, [(-2.57,-5.97,-2.08,-5.48), (-0.34,-4.44,-0.17,-1.97), (-0.34,1.965,-0.17,4.475), (-0.47,5.77,0.02,6.26), (10.68,8.655,10.85,9.845), (16.66,8.97,16.83,9.14), (18.96,8.995,19.13,9.505), (19.88,8.995,20.05,9.505), (13.855,9.31,14.025,9.48), (14.745,9.31,14.915,9.48), (15.23,9.31,15.4,9.48)])
A(vco, mcon, -0.34, -4.37, 0.17, 0.17, 1, 7, 0, 0.36)
A(vco, mcon, -0.34, 2.055, 0.17, 0.17, 1, 7, 0, 0.36)
A(vco, mcon, 10.68, 8.805, 0.17, 0.17, 1, 3, 0, 0.36)
R(vco, mcon, [(-2.41,-5.81,-2.24,-5.64), (-0.31,5.93,-0.14,6.1), (16.66,8.97,16.83,9.14), (18.96,9.165,19.13,9.335), (19.88,9.165,20.05,9.335), (13.855,9.31,14.025,9.48), (14.745,9.31,14.915,9.48), (15.23,9.31,15.4,9.48)])
A(vco, met1, 0.8, -4, 0.9, 0.35, 7, 2, 2.55, 6.9)
A(vco, met1, 6.85, -1.2, 0.85, 0.55, 4, 1, 5.1, 0)
R(vco, met1, [(-2.63,-6.03,-2.02,-6), (-2.63,-6,22.95,-5.45), (-2.63,-5.45,-2.02,-5.42), (-0.45,-5.45,-0.1,-4), (-1.4,-4.65,-0.85,-4.2), (-1.55,-4,-1.25,0.4), (-0.95,-4,-0.1,-2.1), (18.7,-4,19.5,-3.65), (21.25,-4,22.05,-3.65), (-0.45,-2.1,-0.1,-1.9), (0.15,-1.2,1,-0.65), (-1.7,0.4,-1.1,0.9), (-1.55,0.9,-1.25,1.75), (-1.55,1.75,-0.95,2.2), (-0.55,1.9,-0.1,2.4), (-1.55,2.2,-1.25,4.4), (-0.95,2.4,-0.1,4.4), (18.7,2.9,19.5,3.25), (21.25,2.9,22.05,3.25), (-0.55,4.4,-0.1,5.71), (-0.55,5.71,0.08,5.75), (-2.3,5.75,22.95,6.3), (-0.53,6.3,0.08,6.32), (-0.55,7.65,10.85,8.1), (10.62,8.595,10.91,9.1), (16.6,8.915,16.89,8.935), (16.6,8.935,16.94,9.195), (18.9,8.935,19.19,9.1), (19.82,8.935,20.11,8.995), (19.745,8.995,20.155,9.405), (3.55,9,3.95,9.1), (3.55,9.1,10.91,9.245), (18.84,9.1,19.25,9.51), (16.6,9.195,16.89,9.21), (3.55,9.245,3.95,9.35), (10.62,9.245,10.91,9.905), (13.765,9.25,14.155,9.54), (14.54,9.25,14.975,9.55), (15.12,9.25,15.51,9.55), (19.82,9.405,20.11,9.565), (18.9,9.51,19.19,9.565), (-2.65,10.4,10.85,10.85)])
R(vco, via, [(-2.4,-5.8,-2.25,-5.65), (-1.2,-4.5,-1.05,-4.35), (1.015,-3.9,1.165,-3.75), (1.335,-3.9,1.485,-3.75), (3.565,-3.9,3.715,-3.75), (3.885,-3.9,4.035,-3.75), (6.115,-3.9,6.265,-3.75), (6.435,-3.9,6.585,-3.75), (8.665,-3.9,8.815,-3.75), (8.985,-3.9,9.135,-3.75), (11.215,-3.9,11.365,-3.75), (11.535,-3.9,11.685,-3.75), (13.765,-3.9,13.915,-3.75), (14.085,-3.9,14.235,-3.75), (16.315,-3.9,16.465,-3.75), (16.635,-3.9,16.785,-3.75), (18.865,-3.9,19.015,-3.75), (19.185,-3.9,19.335,-3.75), (21.415,-3.9,21.565,-3.75), (21.735,-3.9,21.885,-3.75), (0.34,-1,0.49,-0.85), (0.66,-1,0.81,-0.85), (7.04,-1,7.19,-0.85), (7.36,-1,7.51,-0.85), (12.14,-1,12.29,-0.85), (12.46,-1,12.61,-0.85), (17.24,-1,17.39,-0.85), (17.56,-1,17.71,-0.85), (22.34,-1,22.49,-0.85), (22.66,-1,22.81,-0.85), (-1.475,0.575,-1.325,0.725), (1.015,3,1.165,3.15), (1.335,3,1.485,3.15), (3.565,3,3.715,3.15), (3.885,3,4.035,3.15), (6.115,3,6.265,3.15), (6.435,3,6.585,3.15), (8.665,3,8.815,3.15), (8.985,3,9.135,3.15), (11.215,3,11.365,3.15), (11.535,3,11.685,3.15), (13.765,3,13.915,3.15), (14.085,3,14.235,3.15), (16.315,3,16.465,3.15), (16.635,3,16.785,3.15), (18.865,3,19.015,3.15), (19.185,3,19.335,3.15), (21.415,3,21.565,3.15), (21.735,3,21.885,3.15), (-0.3,5.94,-0.15,6.09), (-0.3,7.8,-0.15,7.95), (16.705,8.99,16.855,9.14), (3.675,9.1,3.825,9.25), (19.875,9.125,20.025,9.275), (18.97,9.23,19.12,9.38), (13.885,9.32,14.035,9.47), (14.66,9.325,14.81,9.475), (15.24,9.325,15.39,9.475), (-2.4,10.55,-2.25,10.7)])
A(vco, met2, 6.9, -1.25, 0.75, 0.65, 4, 1, 5.1, 0)
R(vco, met2, [(-2.63,-6.03,-2.02,-5.42), (-1.35,-4.7,-0.9,-4), (0.75,-4.1,22.95,-4), (-2.3,-4,22.95,-3.65), (-0.67,-3.65,-0.12,1.095), (0.75,-3.65,22.95,-3.55), (0.2,-1.25,0.95,-0.6), (-1.65,0.35,-1.15,2.8), (-0.645,1.095,-0.145,1.115), (-1.65,2.8,22.95,3.35), (-0.53,5.71,0.08,6.32), (5.655,6.26,16.9,6.505), (5.655,6.505,5.9,10.405), (16.655,6.505,16.9,8.905), (14.53,6.715,14.92,7.015), (14.605,7.015,14.85,9.2), (15.16,7.39,15.46,7.78), (-0.5,7.6,0.05,8.15), (15.195,7.78,15.43,9.2), (16.65,8.905,16.91,9.225), (3.6,8.95,3.9,9.4), (19.745,8.995,20.155,9.405), (18.84,9.1,19.25,9.51), (13.815,9.2,14.105,9.28), (14.59,9.2,14.88,9.6), (15.17,9.2,15.46,9.6), (7.65,9.28,14.105,9.535), (7.65,9.535,7.905,10.31), (13.815,9.535,14.105,9.59), (7.48,10.31,8.07,10.81), (-2.6,10.35,-2.05,10.9), (5.48,10.405,6.07,10.995)])
R(vco, via2, [(-2.425,-5.825,-2.225,-5.625), (0.275,-1.025,0.475,-0.825), (0.675,-1.025,0.875,-0.825), (6.975,-1.025,7.175,-0.825), (7.375,-1.025,7.575,-0.825), (12.075,-1.025,12.275,-0.825), (12.475,-1.025,12.675,-0.825), (17.175,-1.025,17.375,-0.825), (17.575,-1.025,17.775,-0.825), (22.275,-1.025,22.475,-0.825), (22.675,-1.025,22.875,-0.825), (-0.495,0.72,-0.295,0.92), (-0.325,5.915,-0.125,6.115), (14.625,6.765,14.825,6.965), (15.21,7.485,15.41,7.685), (-0.325,7.775,-0.125,7.975), (3.65,9.075,3.85,9.275), (19.85,9.1,20.05,9.3), (18.945,9.205,19.145,9.405), (7.675,10.46,7.875,10.66), (-2.425,10.525,-2.225,10.725), (5.675,10.6,5.875,10.8)])
A(vco, met3_pin, 3.5, 10.15, 0.55, 1, 3, 1, 2, 0)
R(vco, met3_pin, [(-2.6,10.15,-2.05,11.15), (-0.5,10.15,0.05,11.15), (1.55,10.15,2.1,11.15)])
A(vco, met3, 6.85, -1.225, 0.85, 0.6, 4, 1, 5.1, 0)
A(vco, met3, 3.5, 10.15, 0.55, 1, 3, 1, 2, 0)
R(vco, met3, [(-2.6,-6,-2.05,10.375), (0.15,-1.225,1,-1.055), (0.15,-1.055,3.92,-0.73), (0.15,-0.73,1,-0.625), (3.595,-0.73,3.92,8.975), (7.1,-0.625,7.45,7.41), (12.2,-0.625,12.55,6.69), (17.35,-0.625,17.7,10.175), (22.45,-0.625,22.8,6.82), (-0.67,0.545,2.1,1.095), (1.55,1.095,2.1,11.15), (-0.5,5.74,0.05,7.625), (12.2,6.69,14.9,7.04), (18.87,6.82,22.8,7.17), (18.87,7.17,19.22,9.48), (7.1,7.41,15.485,7.76), (-0.55,7.625,0.1,8.125), (-0.5,8.125,0.05,11.15), (3.55,8.975,3.95,9.375), (19.775,9.025,20.125,10.175), (3.595,9.375,3.92,10.15), (17.35,10.175,20.125,10.525), (-2.65,10.375,-2,10.875), (-2.6,10.875,-2.05,11.15)])
A(vco, nsdm, 2.405, -0.845, 0.25, 7.03, 8, 1, 2.55, 0)
R(vco, nsdm, [(-0.045,1.355,0.105,5.085)])
A(vco, psdm, 2.405, -5.945, 0.25, 4.93, 8, 1, 2.55, 0)
R(vco, psdm, [(-0.045,-5.045,0.105,-1.365)])
vco.add(gdstk.Reference(sky130_fd_pr__nfet_01v8_, (-1.12,-3.205)))
vco.add(gdstk.Reference(sky130_fd_pr__pfet_01v8_, (-1.12,3.22)))
vco.add(gdstk.Reference(delay_stage, (-3,7.35)))
vco.add(gdstk.Reference(delay_stage, (-5.55,7.35)))
vco.add(gdstk.Reference(sky130_fd_sc_hd__tapvpwr, (20.66,10.61), rotation=pi))
vco.add(gdstk.Reference(sky130_fd_sc_hd__mux4_1, (20.2,10.61), rotation=pi))
vco.add(gdstk.Reference(delay_stage, (9.75,7.35)))
vco.add(gdstk.Reference(delay_stage, (2.1,7.35)))
vco.add(gdstk.Reference(delay_stage, (4.65,7.35)))
vco.add(gdstk.Reference(delay_stage, (12.3,7.35)))
vco.add(gdstk.Reference(delay_stage, (7.2,7.35)))
vco.add(gdstk.Reference(delay_stage, (14.85,7.35)))
vco.add(gdstk.Reference(delay_stage, (-0.45,7.35)))
vco.add(gdstk.Label('vss', (-2.325,10.65), layer=70, texttype=5))
vco.add(gdstk.Label('vdd', (-0.225,10.65), layer=70, texttype=5))
vco.add(gdstk.Label('vcont', (1.825,10.65), layer=70, texttype=5))
vco.add(gdstk.Label('out', (3.775,10.65), layer=70, texttype=5))
vco.add(gdstk.Label('s0', (5.775,10.65), layer=70, texttype=5))
vco.add(gdstk.Label('s1', (7.775,10.65), layer=70, texttype=5))

lib.write_gds('vco.gds')
